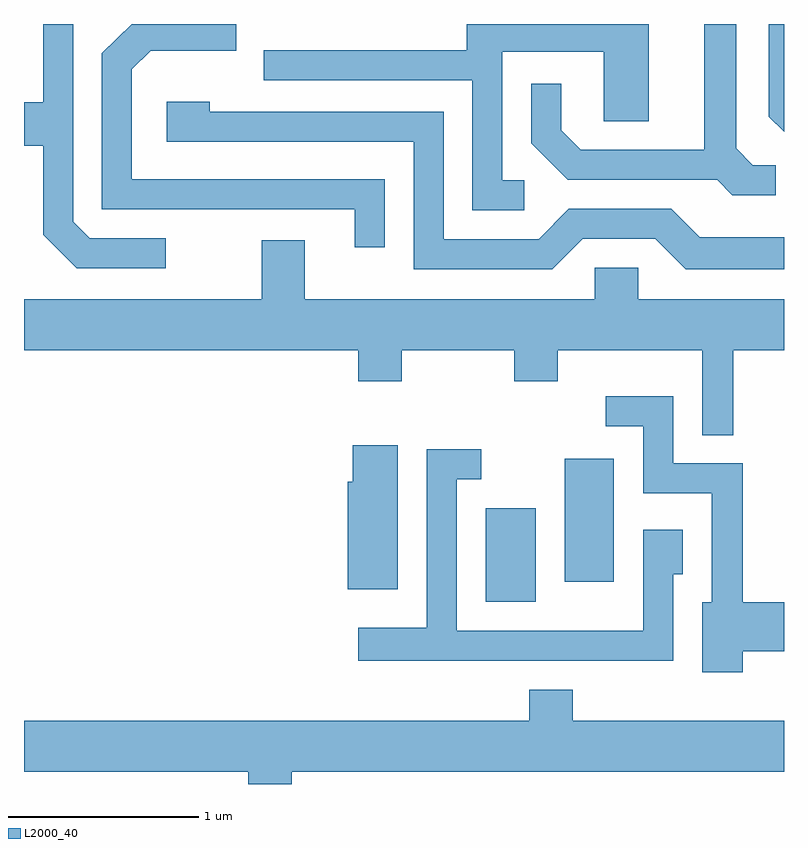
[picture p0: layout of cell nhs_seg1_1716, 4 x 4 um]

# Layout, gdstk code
import gdstk
lib = gdstk.Library(unit=1e-6, precision=1e-09)
def R(c, l, rs):  # rectangles x0, y0, x1, y1
    for r in rs: c.add(gdstk.rectangle(r[:2], r[2:], *l))
def P(c, l, *ps):  # polygons
    for p in ps: c.add(gdstk.Polygon(p, *l))
L2000_40 = (2000, 40)

nhs_seg1_1716 = lib.new_cell('nhs_seg1_1716')
R(nhs_seg1_1716, L2000_40, [(240.041,922.671,240.304,923.164), (240.456,922.776,240.714,923.424)])
P(nhs_seg1_1716, L2000_40, [(239.509,924.894),(238.179,924.894),(238.179,925.474),(238.277,925.571),(238.729,925.571),(238.729,925.712),(238.177,925.712),(238.021,925.557),(238.021,924.736),(239.351,924.736),(239.351,924.538),(239.509,924.538)],
  [(240.243,924.889),(240.129,924.889),(240.129,925.566),(240.661,925.566),(240.661,925.201),(240.899,925.201),(240.899,925.712),(239.941,925.712),(239.941,925.574),(238.873,925.574),(238.873,925.416),(239.971,925.416),(239.971,924.731),(240.243,924.731)],
  [(238.358,924.584),(237.957,924.584),(237.869,924.672),(237.869,925.712),(237.711,925.712),(237.711,925.299),(237.611,925.299),(237.611,925.071),(237.711,925.071),(237.711,924.604),(237.889,924.426),(238.358,924.426)],
  [(241.568,924.969),(241.447,924.969),(241.359,925.057),(241.359,925.712),(241.191,925.712),(241.191,925.049),(240.542,925.049),(240.439,925.152),(240.439,925.398),(240.281,925.398),(240.281,925.084),(240.474,924.891),(241.259,924.891),(241.339,924.811),(241.568,924.811)],
  [(241.611,925.712),(241.531,925.712),(241.531,925.224),(241.611,925.144)],
  [(240.552,924.581),(240.934,924.581),(241.094,924.421),(241.611,924.421),(241.611,924.589),(241.167,924.589),(241.017,924.739),(240.479,924.739),(240.319,924.579),(239.819,924.579),(239.819,925.249),(238.589,925.249),(238.589,925.304),(238.361,925.304),(238.361,925.091),(239.661,925.091),(239.661,924.421),(240.392,924.421)],
  [(241.344,923.996),(241.611,923.996),(241.611,924.264),(240.844,924.264),(240.844,924.429),(240.616,924.429),(240.616,924.264),(239.089,924.264),(239.089,924.574),(238.861,924.574),(238.861,924.264),(237.611,924.264),(237.611,923.996),(239.371,923.996),(239.371,923.831),(239.599,923.831),(239.599,923.996),(240.191,923.996),(240.191,923.831),(240.419,923.831),(240.419,923.996),(241.181,923.996),(241.181,923.548),(241.344,923.548)],
  [(241.394,922.411),(241.611,922.411),(241.611,922.669),(241.394,922.669),(241.394,923.399),(241.029,923.399),(241.029,923.754),(240.673,923.754),(240.673,923.596),(240.871,923.596),(240.871,923.241),(241.231,923.241),(241.231,922.669),(241.181,922.669),(241.181,922.301),(241.394,922.301)],
  [(239.579,923.494),(239.341,923.494),(239.341,923.304),(239.316,923.304),(239.316,922.736),(239.579,922.736)],
  [(241.029,922.816),(241.079,922.816),(241.079,923.049),(240.871,923.049),(240.871,922.519),(239.889,922.519),(239.889,923.316),(240.018,923.316),(240.018,923.474),(239.731,923.474),(239.731,922.534),(239.371,922.534),(239.371,922.361),(241.029,922.361)],
  [(239.019,921.776),(241.611,921.776),(241.611,922.044),(240.499,922.044),(240.499,922.209),(240.271,922.209),(240.271,922.044),(237.611,922.044),(237.611,921.776),(238.791,921.776),(238.791,921.712),(239.019,921.712)])

lib.write_gds('nhs_seg1_1716.gds')
